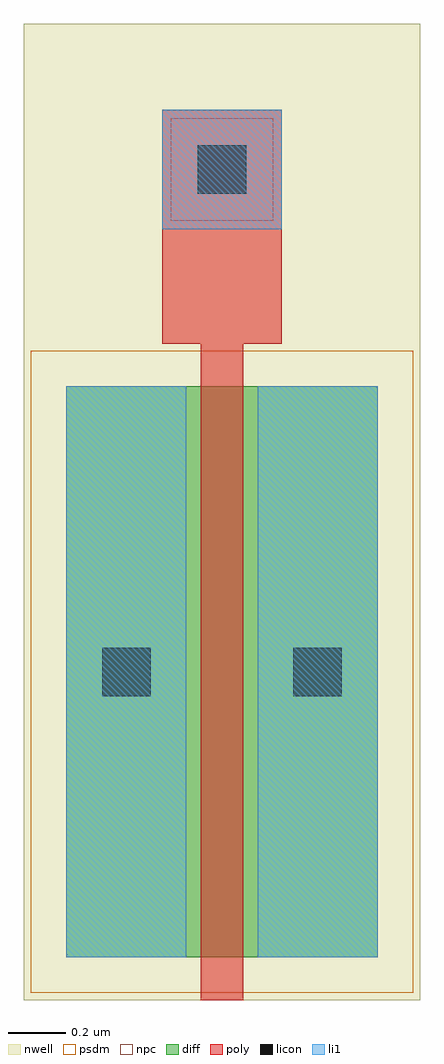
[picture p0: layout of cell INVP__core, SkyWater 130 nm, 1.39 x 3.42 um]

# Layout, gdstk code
import gdstk
lib = gdstk.Library(unit=1e-6, precision=1e-09)
def R(c, l, rs):  # rectangles x0, y0, x1, y1
    for r in rs: c.add(gdstk.rectangle(r[:2], r[2:], *l))
nwell = (64, 20)
diff = (65, 20)
poly = (66, 20)
licon = (66, 44)
li1 = (67, 20)
psdm = (94, 20)
npc = (95, 20)

invp__core = lib.new_cell('INVP__core')
R(invp__core, nwell, [(-0.15,-0.15,1.24,3.27)])
R(invp__core, diff, [(0,0,1.09,2)])
R(invp__core, poly, [(0.47,-0.15,0.62,2), (0.47,2,0.62,2.15), (0.47,2,0.62,2.15), (0.335,2.15,0.755,2.97)])
R(invp__core, licon, [(0.125,0.915,0.295,1.085), (0.795,0.915,0.965,1.085), (0.46,2.675,0.63,2.845)])
R(invp__core, li1, [(0,0,0.42,2), (0.67,0,1.09,2), (0.335,2.55,0.755,2.97)])
R(invp__core, psdm, [(-0.125,-0.125,1.215,2.125)])
R(invp__core, npc, [(0.365,2.58,0.725,2.94)])

lib.write_gds('INVP__core.gds')
